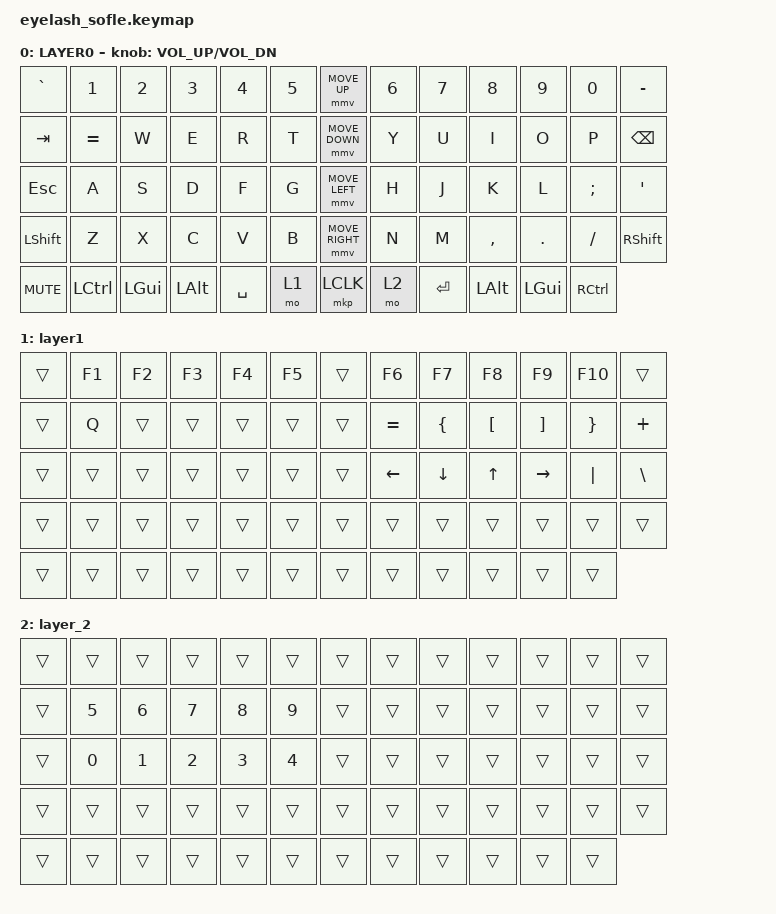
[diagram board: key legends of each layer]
#define ZMK_POINTING_DEFAULT_MOVE_VAL 1200  // 600
#define ZMK_POINTING_DEFAULT_SCRL_VAL 25   // 10

#include <input/processors.dtsi>
#include <zephyr/dt-bindings/input/input-event-codes.h>
#include <behaviors.dtsi>
#include <dt-bindings/zmk/keys.h>
#include <dt-bindings/zmk/pointing.h>

&mmv_input_listener { input-processors = <&zip_xy_scaler 2 1>; };

&msc_input_listener { input-processors = <&zip_scroll_scaler 2 1>; };

&msc {
    acceleration-exponent = <1>;      // 0
    time-to-max-speed-ms = <100>;       // 300
    delay-ms = <0>;                   // 0
};

&mmv {
    time-to-max-speed-ms = <500>;
    acceleration-exponent = <1>;
    trigger-period-ms = <16>;
};

/ {
    scroll_encoder: scroll_encoder {
        compatible = "zmk,behavior-sensor-rotate";
        #sensor-binding-cells = <0>;
        bindings = <&msc SCRL_DOWN>, <&msc SCRL_UP>;

        tap-ms = <100>;
    };

    behaviors {
    };

    keymap {
        compatible = "zmk,keymap";

        layer0 {
            bindings = <
&kp GRAVE   &kp N1     &kp N2        &kp N3        &kp N4     &kp N5    &mmv MOVE_UP     &kp N6  &kp N7     &kp N8        &kp N9    &kp N0     &kp MINUS
&kp TAB     &kp EQUAL  &kp W         &kp E         &kp R      &kp T     &mmv MOVE_DOWN   &kp Y   &kp U      &kp I         &kp O     &kp P      &kp BACKSPACE
&kp ESCAPE  &kp A      &kp S         &kp D         &kp F      &kp G     &mmv MOVE_LEFT   &kp H   &kp J      &kp K         &kp L     &kp SEMI   &kp APOS
&kp LSHFT   &kp Z      &kp X         &kp C         &kp V      &kp B     &mmv MOVE_RIGHT  &kp N   &kp M      &kp COMMA     &kp DOT   &kp FSLH   &kp RIGHT_SHIFT
&kp C_MUTE  &kp LCTRL  &kp LEFT_GUI  &kp LEFT_ALT  &kp SPACE  &mo 1     &mkp LCLK        &mo 2   &kp ENTER  &kp LEFT_ALT  &kp LGUI  &kp RCTRL
            >;

            sensor-bindings = <&inc_dec_kp C_VOLUME_UP C_VOL_DN>;
            display-name = "LAYER0";
        };

        layer_1 {
            bindings = <
&trans  &kp F1  &kp F2  &kp F3  &kp F4  &kp F5    &trans  &kp F6          &kp F7          &kp F8            &kp F9             &kp F10          &trans
&trans  &kp Q   &trans  &trans  &trans  &trans    &trans  &kp EQUAL       &kp LEFT_BRACE  &kp LEFT_BRACKET  &kp RIGHT_BRACKET  &kp RIGHT_BRACE  &kp PLUS
&trans  &trans  &trans  &trans  &trans  &trans    &trans  &kp LEFT_ARROW  &kp DOWN_ARROW  &kp UP_ARROW      &kp RIGHT          &kp PIPE         &kp BACKSLASH
&trans  &trans  &trans  &trans  &trans  &trans    &trans  &trans          &trans          &trans            &trans             &trans           &trans
&trans  &trans  &trans  &trans  &trans  &trans    &trans  &trans          &trans          &trans            &trans             &trans
            >;

            display-name = "layer1";
        };

        layer_2 {
            bindings = <
&trans  &trans  &trans  &trans  &trans  &trans    &trans  &trans  &trans  &trans  &trans  &trans  &trans
&trans  &kp N5  &kp N6  &kp N7  &kp N8  &kp N9    &trans  &trans  &trans  &trans  &trans  &trans  &trans
&trans  &kp N0  &kp N1  &kp N2  &kp N3  &kp N4    &trans  &trans  &trans  &trans  &trans  &trans  &trans
&trans  &trans  &trans  &trans  &trans  &trans    &trans  &trans  &trans  &trans  &trans  &trans  &trans
&trans  &trans  &trans  &trans  &trans  &trans    &trans  &trans  &trans  &trans  &trans  &trans
            >;
        };
    };
};
